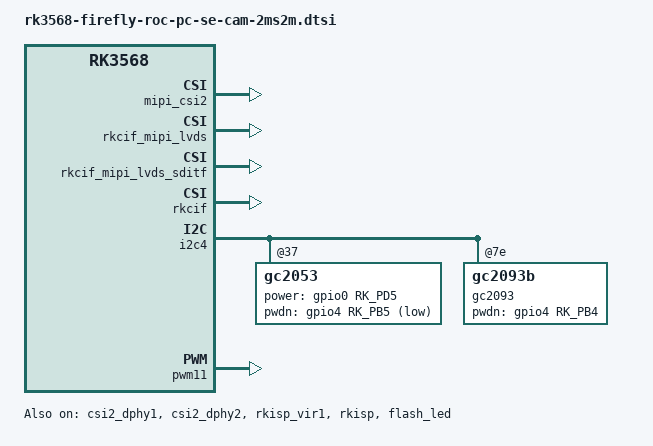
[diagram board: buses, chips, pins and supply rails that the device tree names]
// SPDX-License-Identifier: (GPL-2.0+ OR MIT)
/*
 * Copyright (c) 2020 Rockchip Electronics Co., Ltd.
 *
 */

/* 2M  dual camera gc2053(IR)/gc2093(RGB) */

/*
* csi2_dphy0: used for csi2 dphy full mode,
        is mutually exclusive with
        csi2_dphy1 and csi2_dphy2
* csi2_dphy1: used for csi2 dphy split mode,
        physical lanes use lane0 and lane1,
        can be used with csi2_dphy2  parallel
* csi2_dphy2: used for csi2 dphy split mode,
        physical lanes use lane2 and lane3,
        can be used with csi2_dphy1  parallel
*/

&csi2_dphy0 {
    status = "disabled";
};

&csi2_dphy1 {
    status = "okay";
};


&csi2_dphy2 {
    status = "okay";
};

&mipi_csi2 {
    status = "okay";
};

&rkisp_vir1 {
    status = "okay";
};

&mipi_csi2 {
    status = "okay";
};

&rkcif_mipi_lvds {
    status = "okay";
};

&rkcif_mipi_lvds_sditf {
    status = "okay";
};

&rkcif_mmu {
    status = "okay";
};

&rkcif {
    status = "okay";
};

&rkisp {
    status = "okay";
};

&rkisp_mmu {
    status = "okay";
};

/*
 * csidphy_out ----> csi2_dphy0
 * dphy1_out   ----> csi2_dphy1
 * dphy2_out   ----> csi2_dphy2
 */
&isp0_in {
    remote-endpoint = <&dphy1_out>;
};

&i2c4 {
	status = "okay";

	gc2053: gc2053@37 {
		status = "okay";
		power-gpios = <&gpio0 RK_PD5 GPIO_ACTIVE_HIGH>;//IR_PWR_EN
		pwdn-gpios = <&gpio4 RK_PB5 GPIO_ACTIVE_LOW>;
	};

	gc2093: gc2093b@7e{
		status = "okay";
		pwdn-gpios = <&gpio4 RK_PB4 GPIO_ACTIVE_HIGH>;
	};
};

&vcc_camera {
    gpio = <&gpio0 RK_PD6 GPIO_ACTIVE_HIGH>;
    status = "okay";
};

&flash_led {
    status = "okay";
};


&pwm11 {
	status = "okay";
};


&pinctrl {
    cam {
        vcc_cam: vcc-cam {
            rockchip,pins = <0 RK_PD6 RK_FUNC_GPIO &pcfg_pull_none>;
        };
    };
};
